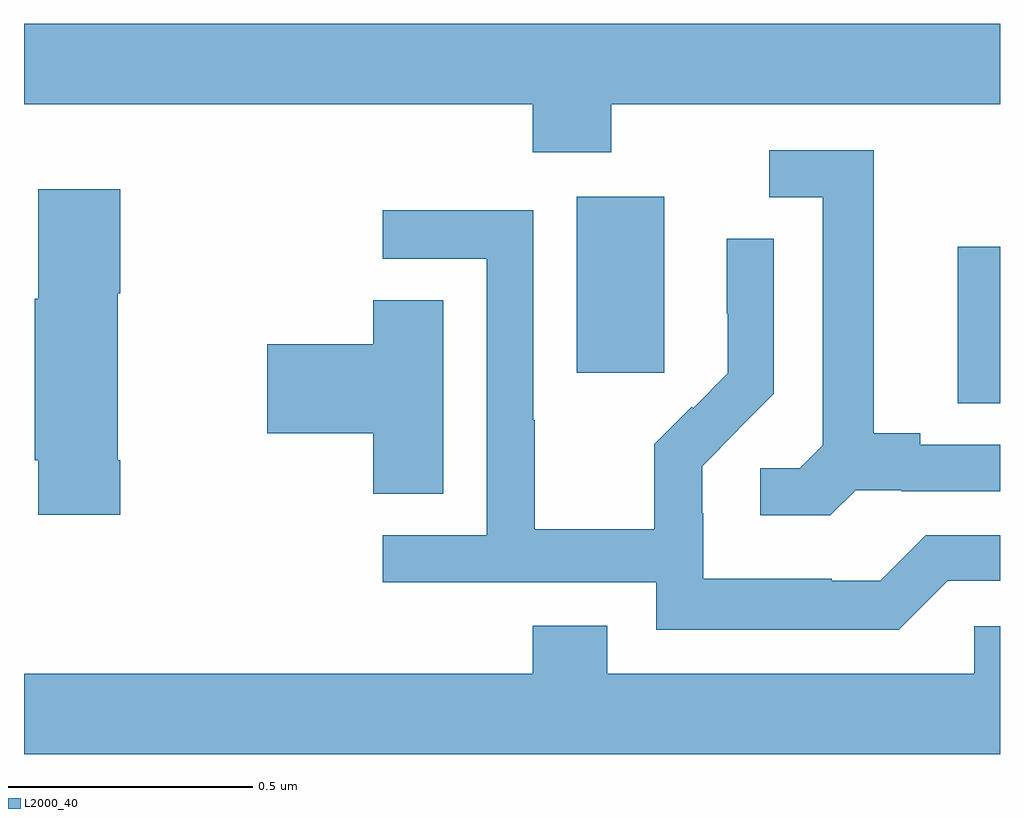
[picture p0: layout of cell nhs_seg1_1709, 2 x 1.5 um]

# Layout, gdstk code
import gdstk
lib = gdstk.Library(unit=1e-6, precision=1e-09)
def R(c, l, rs):  # rectangles x0, y0, x1, y1
    for r in rs: c.add(gdstk.rectangle(r[:2], r[2:], *l))
def P(c, l, *ps):  # polygons
    for p in ps: c.add(gdstk.Polygon(p, *l))
L2000_40 = (2000, 40)

nhs_seg1_1709 = lib.new_cell('nhs_seg1_1709')
R(nhs_seg1_1709, L2000_40, [(133.913,555.115,134,555.435), (133.133,555.177,133.312,555.538)])
P(nhs_seg1_1709, L2000_40, [(133.203,555.728),(134,555.728),(134,555.892),(132,555.892),(132,555.728),(133.043,555.728),(133.043,555.629),(133.203,555.629)],
  [(133.704,554.937),(133.798,554.937),(133.798,554.934),(134,554.934),(134,555.03),(133.837,555.03),(133.837,555.053),(133.741,555.053),(133.741,555.633),(133.527,555.633),(133.527,555.537),(133.637,555.537),(133.637,555.029),(133.59,554.982),(133.509,554.982),(133.509,554.885),(133.652,554.885)],
  [(132.197,554.998),(132.192,554.998),(132.192,555.34),(132.197,555.34),(132.197,555.553),(132.029,555.553),(132.029,555.329),(132.022,555.329),(132.022,554.998),(132.029,554.998),(132.029,554.886),(132.197,554.886)],
  [(133.893,554.751),(134,554.751),(134,554.844),(133.848,554.844),(133.755,554.751),(133.655,554.751),(133.655,554.755),(133.392,554.755),(133.392,554.889),(133.39,554.889),(133.39,554.986),(133.464,555.06),(133.463,555.061),(133.536,555.134),(133.536,555.452),(133.44,555.452),(133.44,555.298),(133.442,555.298),(133.442,555.176),(133.371,555.105),(133.368,555.108),(133.291,555.031),(133.291,554.857),(133.047,554.857),(133.047,555.08),(133.044,555.08),(133.044,555.51),(132.735,555.51),(132.735,555.411),(132.948,555.411),(132.948,554.844),(132.735,554.844),(132.735,554.748),(133.296,554.748),(133.296,554.651),(133.793,554.651)],
  [(132.859,555.326),(132.716,555.326),(132.716,555.236),(132.498,555.236),(132.498,555.053),(132.716,555.053),(132.716,554.929),(132.859,554.929)],
  [(134,554.658),(133.947,554.658),(133.947,554.56),(133.195,554.56),(133.195,554.659),(133.043,554.659),(133.043,554.56),(132,554.56),(132,554.396),(134,554.396)])

lib.write_gds('nhs_seg1_1709.gds')
